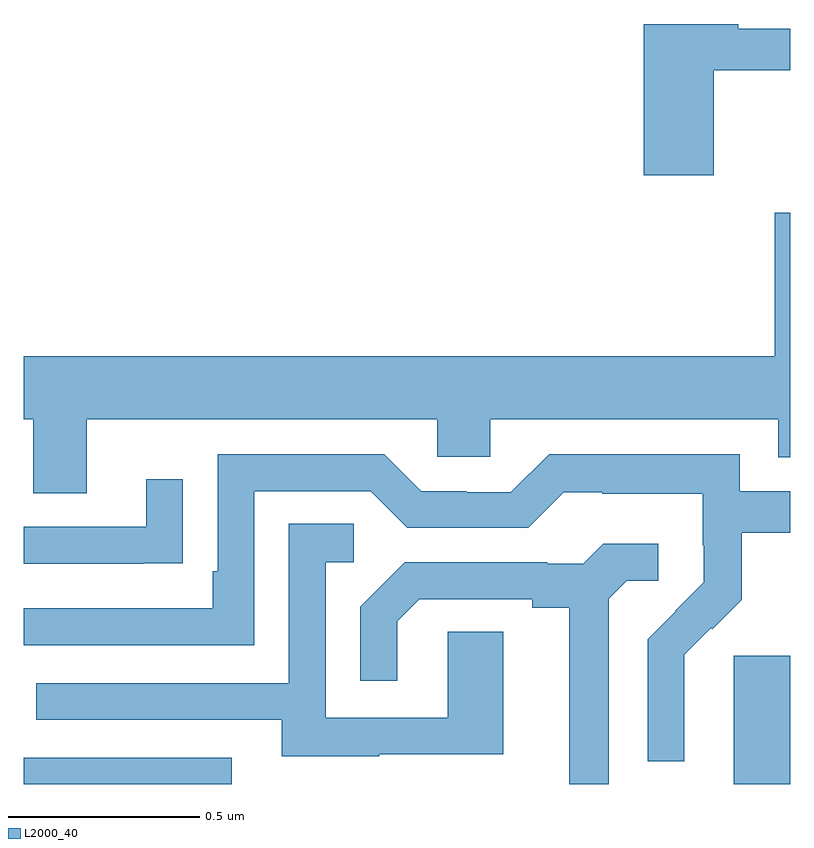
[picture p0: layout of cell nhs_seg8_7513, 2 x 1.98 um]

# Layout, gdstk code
import gdstk
lib = gdstk.Library(unit=1e-6, precision=1e-09)
def R(c, l, rs):  # rectangles x0, y0, x1, y1
    for r in rs: c.add(gdstk.rectangle(r[:2], r[2:], *l))
def P(c, l, *ps):  # polygons
    for p in ps: c.add(gdstk.Polygon(p, *l))
L2000_40 = (2000, 40)

nhs_seg8_7513 = lib.new_cell('nhs_seg8_7513')
R(nhs_seg8_7513, L2000_40, [(211,1096.9,211.543,1096.968), (212.852,1096.9,213,1097.235)])
P(nhs_seg8_7513, L2000_40, [(212.801,1098.762),(213,1098.762),(213,1098.87),(212.864,1098.87),(212.864,1098.883),(212.618,1098.883),(212.618,1098.489),(212.801,1098.489)],
  [(211.165,1097.852),(212.079,1097.852),(212.079,1097.754),(212.217,1097.754),(212.217,1097.852),(212.969,1097.852),(212.969,1097.753),(213,1097.753),(213,1098.391),(212.96,1098.391),(212.96,1098.016),(211,1098.016),(211,1097.852),(211.025,1097.852),(211.025,1097.658),(211.165,1097.658)],
  [(212.724,1097.114),(212.723,1097.114),(212.723,1097.237),(212.793,1097.307),(212.796,1097.304),(212.873,1097.381),(212.873,1097.556),(213,1097.556),(213,1097.664),(212.868,1097.664),(212.868,1097.761),(212.371,1097.761),(212.271,1097.661),(212.156,1097.661),(212.156,1097.664),(212.037,1097.664),(211.941,1097.76),(211.506,1097.76),(211.506,1097.455),(211.493,1097.455),(211.493,1097.358),(211,1097.358),(211,1097.262),(211.602,1097.262),(211.602,1097.664),(211.905,1097.664),(212.001,1097.568),(212.316,1097.568),(212.409,1097.661),(212.509,1097.661),(212.509,1097.657),(212.772,1097.657),(212.772,1097.523),(212.774,1097.523),(212.774,1097.426),(212.7,1097.352),(212.701,1097.351),(212.628,1097.278),(212.628,1096.96),(212.724,1096.96)],
  [(211.313,1097.476),(211.415,1097.476),(211.415,1097.695),(211.319,1097.695),(211.319,1097.571),(211,1097.571),(211,1097.475),(211.313,1097.475)],
  [(211.927,1096.977),(212.251,1096.977),(212.251,1097.297),(212.106,1097.297),(212.106,1097.073),(211.788,1097.073),(211.788,1097.478),(211.861,1097.478),(211.861,1097.579),(211.692,1097.579),(211.692,1097.163),(211.033,1097.163),(211.033,1097.067),(211.673,1097.067),(211.673,1096.973),(211.927,1096.973)],
  [(212.527,1097.383),(212.574,1097.43),(212.656,1097.43),(212.656,1097.527),(212.512,1097.527),(212.46,1097.475),(212.366,1097.475),(212.366,1097.478),(211.994,1097.478),(211.878,1097.362),(211.878,1097.169),(211.975,1097.169),(211.975,1097.325),(212.032,1097.382),(212.327,1097.382),(212.327,1097.36),(212.423,1097.36),(212.423,1096.9),(212.527,1096.9)])

lib.write_gds('nhs_seg8_7513.gds')
